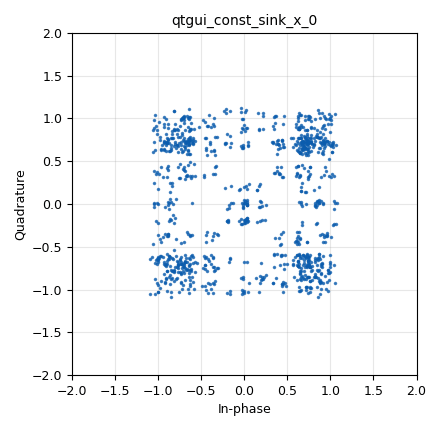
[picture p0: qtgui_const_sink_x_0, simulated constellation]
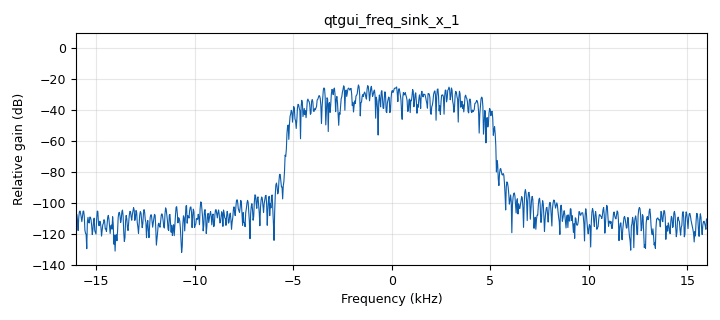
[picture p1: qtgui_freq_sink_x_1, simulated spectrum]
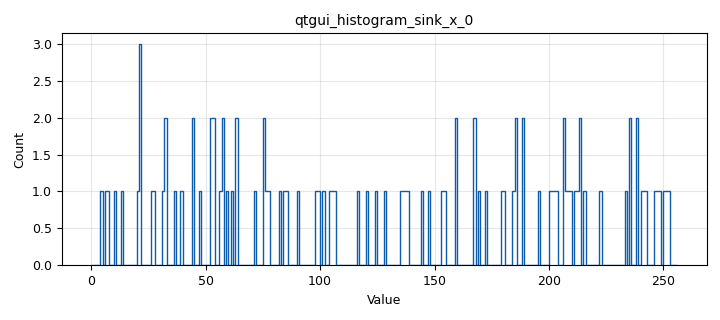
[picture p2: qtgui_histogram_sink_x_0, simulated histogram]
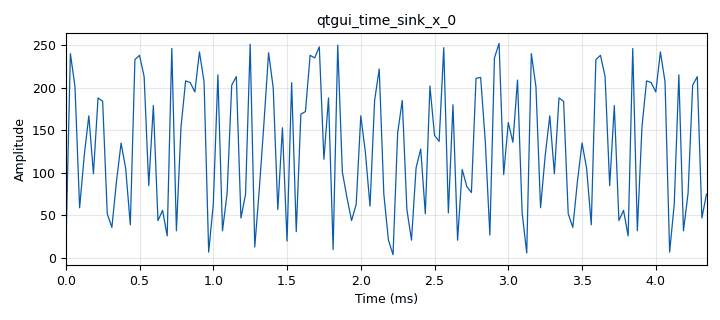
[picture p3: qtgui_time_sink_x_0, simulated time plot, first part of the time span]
<?xml version='1.0' encoding='utf-8'?>
<?grc format='1' created='3.7.9'?>
<flow_graph>
<block>
<key>options</key>
<param><key>id</key><value>top_block</value></param>
<param><key>category</key><value>Custom</value></param>
<param><key>generate_options</key><value>qt_gui</value></param>
</block>
<block>
<key>variable</key>
<param><key>id</key><value>const_points</value></param>
<param><key>value</key><value>256</value></param>
</block>
<block>
<key>variable</key>
<param><key>id</key><value>excess_bw</value></param>
<param><key>value</key><value>0.35</value></param>
</block>
<block>
<key>variable</key>
<param><key>id</key><value>nfilts</value></param>
<param><key>value</key><value>32</value></param>
</block>
<block>
<key>variable</key>
<param><key>id</key><value>ntaps</value></param>
<param><key>value</key><value>11*nfilts*sps</value></param>
</block>
<block>
<key>variable_constellation_rect</key>
<param><key>id</key><value>qpsk</value></param>
<param><key>const_points</key><value>[-0.707-0.707j, -0.707+0.707j, 0.707+0.707j, 0.707-0.707j]</value></param>
<param><key>imag_sect</key><value>2</value></param>
<param><key>real_sect</key><value>2</value></param>
<param><key>rot_sym</key><value>4</value></param>
<param><key>sym_map</key><value>[0, 1, 2, 3]</value></param>
<param><key>w_imag_sect</key><value>1</value></param>
<param><key>w_real_sect</key><value>1</value></param>
</block>
<block>
<key>variable</key>
<param><key>id</key><value>samp_rate</value></param>
<param><key>value</key><value>32e3</value></param>
</block>
<block>
<key>variable</key>
<param><key>id</key><value>sps</value></param>
<param><key>value</key><value>4</value></param>
</block>
<block>
<key>variable</key>
<param><key>id</key><value>tx_taps</value></param>
<param><key>value</key><value>firdes.root_raised_cosine(nfilts,nfilts,1.0,excess_bw,ntaps)</value></param>
</block>
<block>
<key>analog_random_source_x</key>
<param><key>id</key><value>analog_random_source_x_0</value></param>
<param><key>max</key><value>const_points</value></param>
<param><key>min</key><value>0</value></param>
<param><key>num_samps</key><value>100</value></param>
<param><key>type</key><value>byte</value></param>
<param><key>repeat</key><value>True</value></param>
</block>
<block>
<key>blocks_throttle</key>
<param><key>id</key><value>blocks_throttle_0</value></param>
<param><key>samples_per_second</key><value>samp_rate</value></param>
<param><key>type</key><value>byte</value></param>
</block>
<block>
<key>blocks_throttle</key>
<param><key>id</key><value>blocks_throttle_0_0</value></param>
<param><key>samples_per_second</key><value>samp_rate</value></param>
<param><key>type</key><value>complex</value></param>
</block>
<block>
<key>blocks_uchar_to_float</key>
<param><key>id</key><value>blocks_uchar_to_float_0</value></param>
</block>
<block>
<key>digital_constellation_modulator</key>
<param><key>id</key><value>const</value></param>
<param><key>constellation</key><value>qpsk</value></param>
<param><key>differential</key><value>True</value></param>
<param><key>excess_bw</key><value>excess_bw</value></param>
<param><key>samples_per_symbol</key><value>4</value></param>
</block>
<block>
<key>import</key>
<param><key>id</key><value>digital</value></param>
<param><key>import</key><value>from gnuradio import digital </value></param>
</block>
<block>
<key>import</key>
<param><key>id</key><value>filt</value></param>
<param><key>import</key><value>from gnuradio import filter</value></param>
</block>
<block>
<key>import</key>
<param><key>id</key><value>pi</value></param>
<param><key>import</key><value>from math import pi</value></param>
</block>
<block>
<key>qtgui_const_sink_x</key>
<param><key>id</key><value>qtgui_const_sink_x_0</value></param>
<param><key>marker1</key><value>1</value></param>
<param><key>size</key><value>1024</value></param>
<param><key>type</key><value>complex</value></param>
</block>
<block>
<key>qtgui_freq_sink_x</key>
<param><key>id</key><value>qtgui_freq_sink_x_1</value></param>
<param><key>bw</key><value>samp_rate</value></param>
<param><key>fc</key><value>0</value></param>
<param><key>fftsize</key><value>1024</value></param>
<param><key>showports</key><value>True</value></param>
<param><key>type</key><value>complex</value></param>
<param><key>wintype</key><value>firdes.WIN_BLACKMAN_hARRIS</value></param>
</block>
<block>
<key>qtgui_histogram_sink_x</key>
<param><key>id</key><value>qtgui_histogram_sink_x_0</value></param>
<param><key>xmax</key><value>256</value></param>
<param><key>xmin</key><value>0</value></param>
<param><key>bins</key><value>256</value></param>
<param><key>size</key><value>100</value></param>
<param><key>type</key><value>float</value></param>
</block>
<block>
<key>qtgui_time_sink_x</key>
<param><key>id</key><value>qtgui_time_sink_x_0</value></param>
<param><key>autoscale</key><value>True</value></param>
<param><key>color1</key><value>"blue"</value></param>
<param><key>label1</key><value></value></param>
<param><key>size</key><value>1024</value></param>
<param><key>srate</key><value>samp_rate</value></param>
<param><key>type</key><value>float</value></param>
</block>
<connection><source_block_id>analog_random_source_x_0</source_block_id><sink_block_id>blocks_throttle_0</sink_block_id><source_key>0</source_key><sink_key>0</sink_key></connection>
<connection><source_block_id>analog_random_source_x_0</source_block_id><sink_block_id>const</sink_block_id><source_key>0</source_key><sink_key>0</sink_key></connection>
<connection><source_block_id>blocks_throttle_0</source_block_id><sink_block_id>blocks_uchar_to_float_0</sink_block_id><source_key>0</source_key><sink_key>0</sink_key></connection>
<connection><source_block_id>blocks_throttle_0_0</source_block_id><sink_block_id>qtgui_const_sink_x_0</sink_block_id><source_key>0</source_key><sink_key>0</sink_key></connection>
<connection><source_block_id>blocks_throttle_0_0</source_block_id><sink_block_id>qtgui_freq_sink_x_1</sink_block_id><source_key>0</source_key><sink_key>0</sink_key></connection>
<connection><source_block_id>blocks_uchar_to_float_0</source_block_id><sink_block_id>qtgui_histogram_sink_x_0</sink_block_id><source_key>0</source_key><sink_key>0</sink_key></connection>
<connection><source_block_id>blocks_uchar_to_float_0</source_block_id><sink_block_id>qtgui_time_sink_x_0</sink_block_id><source_key>0</source_key><sink_key>0</sink_key></connection>
<connection><source_block_id>const</source_block_id><sink_block_id>blocks_throttle_0_0</sink_block_id><source_key>0</source_key><sink_key>0</sink_key></connection>
</flow_graph>
